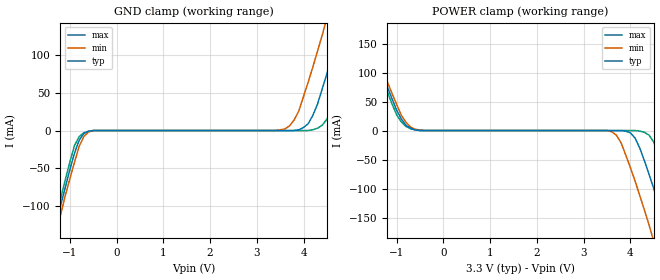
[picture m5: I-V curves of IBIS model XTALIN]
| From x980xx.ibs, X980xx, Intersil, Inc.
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|   XTALIN MODEL
[Model]   XTALIN
Model_type   Input
Vinl = 0.8Vc
Vinh = 2.5V
C_comp   3pF   3pF   3pF
|   typ   min   max
[Voltage Range]   3.3   3   3.6
[Temperature Range]  25   85   -40
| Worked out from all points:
|   GND clamp passes 1 mA (typ) near -0.60 V on its own axis
|   POWER clamp passes 1 mA (typ) near -0.60 V on its own axis
[GND_Clamp]
|V   I(typ)   I(min)   I(max)
-3.3V     -896mA     -853mA     -937mA
-1.4V     -153mA     -163mA     -145mA
-1.3V     -126mA     -137mA     -117mA
-900mV    -30mA      -42mA      -20mA
-600mV    -1mA       -2mA       -1mA
3.6V      0A         2mA        0A
3.9V      1mA        26mA       0A
4.3V      35mA       105mA      3mA
4.5V      75mA       149mA      15mA
4.8V      143mA      221mA      67mA
5.1V      219mA      300mA      136mA
6.6V      737mA      804mA      645mA
[Power_Clamp]
|V   I(typ)   I(min)   I(max)
-3.3V     737mA      689mA      779mA
-1.7V     193mA      196mA      189mA
-1.6V     167mA      172mA      162mA
-1V       35mA       45mA       27mA
-700mV    4mA        6mA        3mA
3.6V      0A         -2mA       0A
4V        -4mA       -64mA      0A
4.3V      -52mA      -137mA     -3mA
4.5V      -100mA     -191mA     -20mA
4.8V      -182mA     -279mA     -91mA
5.1V      -274mA     -375mA     -174mA
6.6V      -896mA     -995mA     -778mA
